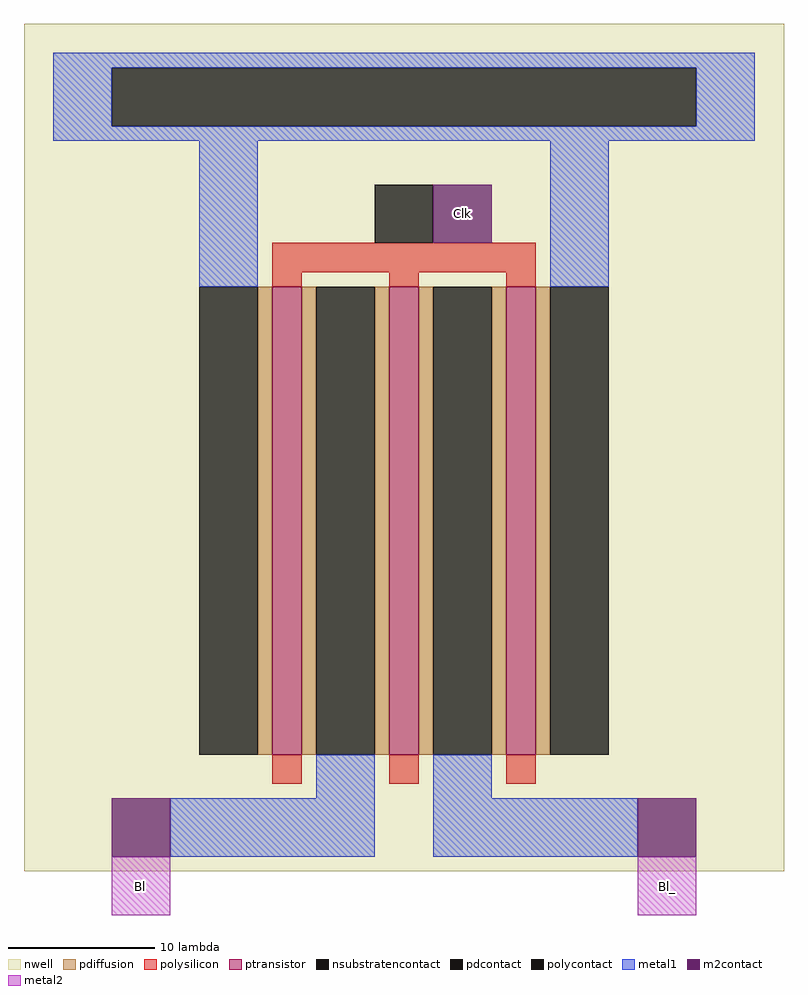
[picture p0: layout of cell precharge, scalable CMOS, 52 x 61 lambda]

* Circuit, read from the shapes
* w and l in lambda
.subckt precharge Bl Bl_ Clk
M1 Bl Clk n1 n1 pfet w=32 l=2
M2 Bl_ Clk Bl n1 pfet w=32 l=2
M3 n1 Clk Bl_ n1 pfet w=32 l=2
.ends

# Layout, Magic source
magic
tech scmos
<< nwell >>
rect -25 -17 27 41
<< ptransistor >>
rect -8 -9 -6 23
rect 0 -9 2 23
rect 8 -9 10 23
<< pdiffusion >>
rect -9 -9 -8 23
rect -6 -9 -5 23
rect -1 -9 0 23
rect 2 -9 3 23
rect 7 -9 8 23
rect 10 -9 11 23
<< pdcontact >>
rect -13 -9 -9 23
rect -5 -9 -1 23
rect 3 -9 7 23
rect 11 -9 15 23
<< nsubstratencontact >>
rect -19 34 21 38
<< polysilicon >>
rect -8 24 10 26
rect -8 23 -6 24
rect 0 23 2 24
rect 8 23 10 24
rect -8 -11 -6 -9
rect 0 -11 2 -9
rect 8 -11 10 -9
<< polycontact >>
rect -1 26 3 30
<< metal1 >>
rect -23 38 25 39
rect -23 34 -19 38
rect 21 34 25 38
rect -23 33 25 34
rect -13 23 -9 33
rect 11 23 15 33
rect -5 -12 -1 -9
rect -15 -16 -1 -12
rect 3 -12 7 -9
rect 3 -16 17 -12
<< m2contact >>
rect 3 26 7 30
rect -19 -16 -15 -12
rect 17 -16 21 -12
<< metal2 >>
rect -19 -20 -15 -16
rect 17 -20 21 -16
<< labels >>
rlabel m2contact 5 28 5 28 1 Clk
rlabel metal2 -17 -18 -17 -18 1 Bl
rlabel metal2 19 -18 19 -18 1 Bl_
<< end >>
